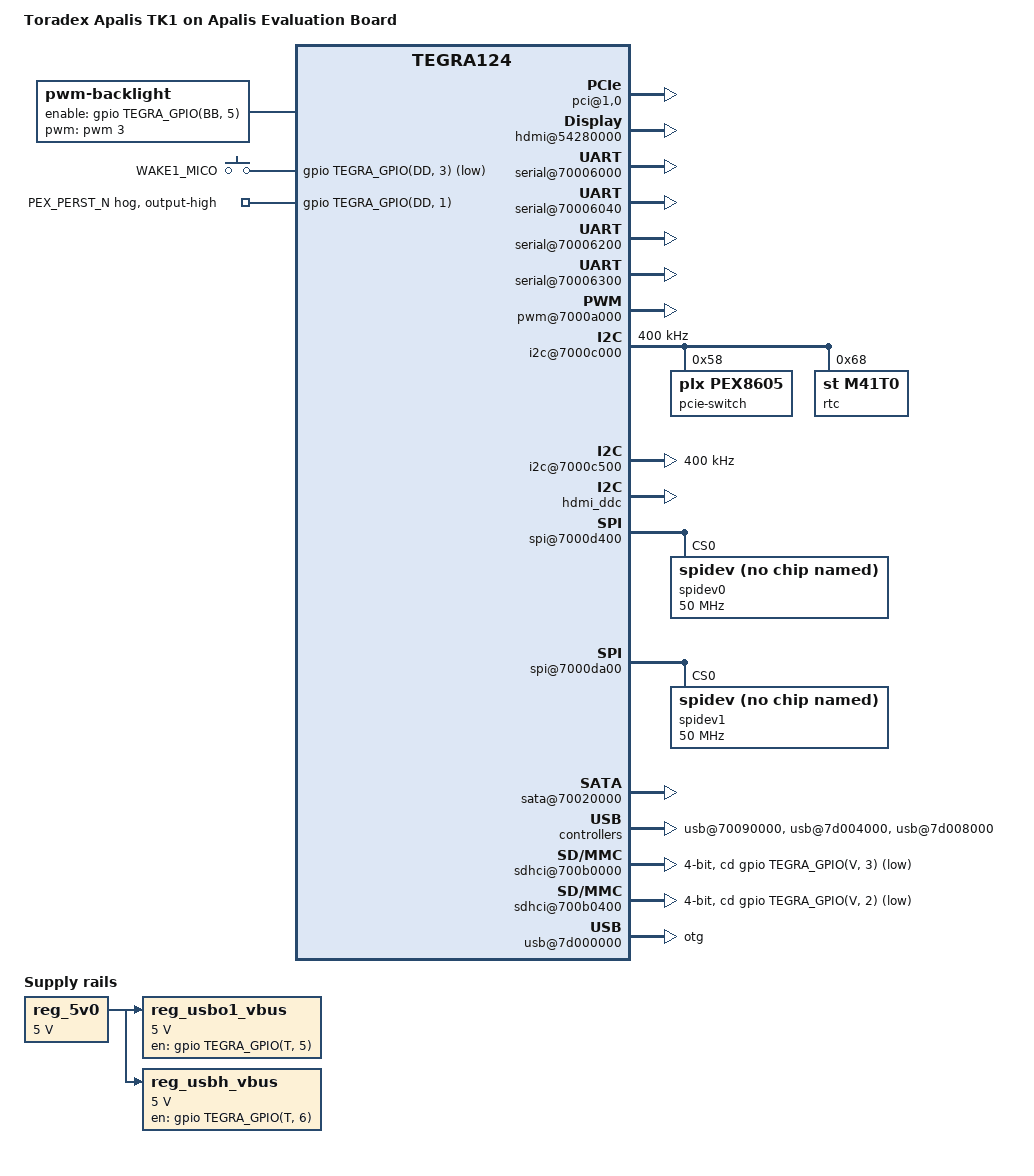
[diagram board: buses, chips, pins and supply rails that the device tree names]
// SPDX-License-Identifier: (GPL-2.0 OR MIT)
/*
 * Copyright 2016-2018 Toradex AG
 */

/dts-v1/;

#include <dt-bindings/input/input.h>
#include "tegra124-apalis-v1.2.dtsi"

/ {
	model = "Toradex Apalis TK1 on Apalis Evaluation Board";
	compatible = "toradex,apalis-tk1-v1.2-eval", "toradex,apalis-tk1-eval",
		     "toradex,apalis-tk1", "nvidia,tegra124";

	aliases {
		rtc0 = "/i2c@7000c000/rtc@68";
		rtc1 = "/i2c@7000d000/pmic@40";
		rtc2 = "/rtc@7000e000";
		serial0 = &uarta;
		serial1 = &uartb;
		serial2 = &uartc;
		serial3 = &uartd;
	};

	chosen {
		stdout-path = "serial0:115200n8";
	};

	pcie@1003000 {
		pci@1,0 {
			status = "okay";
		};
	};

	host1x@50000000 {
		hdmi@54280000 {
			status = "okay";
		};
	};

	/* Apalis UART1 */
	serial@70006000 {
		status = "okay";
	};

	/* Apalis UART2 */
	serial@70006040 {
		status = "okay";
	};

	/* Apalis UART3 */
	serial@70006200 {
		status = "okay";
	};

	/* Apalis UART4 */
	serial@70006300 {
		status = "okay";
	};

	pwm@7000a000 {
		status = "okay";
	};

	/*
	 * GEN1_I2C: I2C1_SDA/SCL on MXM3 pin 209/211 (e.g. RTC on carrier
	 * board)
	 */
	i2c@7000c000 {
		status = "okay";
		clock-frequency = <400000>;

		pcie-switch@58 {
			compatible = "plx,pex8605";
			reg = <0x58>;
		};

		/* M41T0M6 real time clock on carrier board */
		rtc@68 {
			compatible = "st,m41t0";
			reg = <0x68>;
		};
	};

	/* GEN2_I2C: unused */

	/*
	 * CAM_I2C: I2C3_SDA/SCL (CAM) on MXM3 pin 201/203 (e.g. camera sensor
	 * on carrier board)
	 */
	i2c@7000c500 {
		status = "okay";
		clock-frequency = <400000>;
	};

	/*
	 * I2C4 (DDC): I2C4_SDA/SCL (DDC) on MXM3 pin 205/207
	 * (e.g. display EDID)
	 */
	hdmi_ddc: i2c@7000c700 {
		status = "okay";
	};

	/* SPI1: Apalis SPI1 */
	spi@7000d400 {
		status = "okay";
		spi-max-frequency = <50000000>;

		spidev0: spidev@0 {
			compatible = "spidev";
			reg = <0>;
			spi-max-frequency = <50000000>;
		};
	};

	/* SPI4: Apalis SPI2 */
	spi@7000da00 {
		status = "okay";
		spi-max-frequency = <50000000>;

		spidev1: spidev@0 {
			compatible = "spidev";
			reg = <0>;
			spi-max-frequency = <50000000>;
		};
	};

	/* Apalis Serial ATA */
	sata@70020000 {
		status = "okay";
	};

	hda@70030000 {
		status = "okay";
	};

	usb@70090000 {
		status = "okay";
	};

	/* Apalis MMC1 */
	sdhci@700b0000 {
		status = "okay";
		/* MMC1_CD# */
		cd-gpios = <&gpio TEGRA_GPIO(V, 3) GPIO_ACTIVE_LOW>;
		bus-width = <4>;
		vqmmc-supply = <&vddio_sdmmc1>;
	};

	/* Apalis SD1 */
	sdhci@700b0400 {
		status = "okay";
		/* SD1_CD# */
		cd-gpios = <&gpio TEGRA_GPIO(V, 2) GPIO_ACTIVE_LOW>;
		bus-width = <4>;
		vqmmc-supply = <&vddio_sdmmc3>;
	};

	/* EHCI instance 0: USB1_DP/N -> USBO1_DP/N */
	usb@7d000000 {
		status = "okay";
		dr_mode = "otg";
	};

	usb-phy@7d000000 {
		status = "okay";
		vbus-supply = <&reg_usbo1_vbus>;
	};

	/* EHCI instance 1: USB2_DP/N -> USBH2_DP/N */
	usb@7d004000 {
		status = "okay";
	};

	usb-phy@7d004000 {
		status = "okay";
		vbus-supply = <&reg_usbh_vbus>;
	};

	/* EHCI instance 2: USB3_DP/N -> USBH4_DP/N */
	usb@7d008000 {
		status = "okay";
	};

	usb-phy@7d008000 {
		status = "okay";
		vbus-supply = <&reg_usbh_vbus>;
	};

	backlight: backlight {
		compatible = "pwm-backlight";
		pwms = <&pwm 3 5000000>; /* BKL1_PWM */
		brightness-levels = <255 231 223 207 191 159 127 0>;
		default-brightness-level = <6>;
		/* BKL1_ON */
		enable-gpios = <&gpio TEGRA_GPIO(BB, 5) GPIO_ACTIVE_HIGH>;
	};

	gpio-keys {
		compatible = "gpio-keys";

		wakeup {
			label = "WAKE1_MICO";
			gpios = <&gpio TEGRA_GPIO(DD, 3) GPIO_ACTIVE_LOW>;
			linux,code = <KEY_WAKEUP>;
			debounce-interval = <10>;
			wakeup-source;
		};
	};

	reg_5v0: regulator-5v0 {
		compatible = "regulator-fixed";
		regulator-name = "5V_SW";
		regulator-min-microvolt = <5000000>;
		regulator-max-microvolt = <5000000>;
	};

	/* USBO1_EN */
	reg_usbo1_vbus: regulator-usbo1-vbus {
		compatible = "regulator-fixed";
		regulator-name = "VCC_USBO1";
		regulator-min-microvolt = <5000000>;
		regulator-max-microvolt = <5000000>;
		gpio = <&gpio TEGRA_GPIO(T, 5) GPIO_ACTIVE_HIGH>;
		enable-active-high;
		vin-supply = <&reg_5v0>;
	};

	/* USBH_EN */
	reg_usbh_vbus: regulator-usbh-vbus {
		compatible = "regulator-fixed";
		regulator-name = "VCC_USBH(2A|2C|2D|3|4)";
		regulator-min-microvolt = <5000000>;
		regulator-max-microvolt = <5000000>;
		gpio = <&gpio TEGRA_GPIO(T, 6) GPIO_ACTIVE_HIGH>;
		enable-active-high;
		vin-supply = <&reg_5v0>;
	};
};

&gpio {
	/* Apalis GPIO7 MXM3 pin 15 PLX PEX 8605 PCIe Switch Reset */
	pex_perst_n {
		gpio-hog;
		gpios = <TEGRA_GPIO(DD, 1) GPIO_ACTIVE_HIGH>;
		output-high;
		line-name = "PEX_PERST_N";
	};
};
